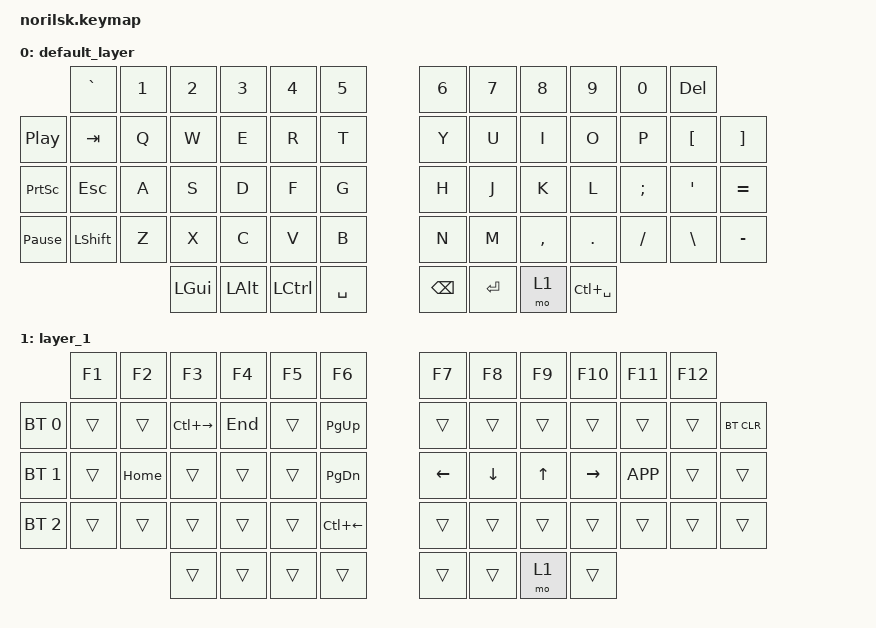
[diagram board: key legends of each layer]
#include <behaviors.dtsi>
#include <dt-bindings/zmk/bt.h>
#include <dt-bindings/zmk/keys.h>

#define ZMK_POINTING_DEFAULT_MOVE_VAL 3600
#include <dt-bindings/zmk/pointing.h>

/ {
    keymap {
        compatible = "zmk,keymap";

        default_layer {
            bindings = <
                &kp GRAVE        &kp N1    &kp N2    &kp N3    &kp N4        &kp N5
                &kp N6           &kp N7    &kp N8    &kp N9    &kp N0        &kp DEL

                &kp C_PLAY_PAUSE &kp TAB   &kp Q     &kp W     &kp E         &kp R      &kp T
                &kp Y            &kp U     &kp I     &kp O     &kp P         &kp LBKT   &kp RBKT

                &kp PSCRN        &kp ESC   &kp A     &kp S     &kp D         &kp F      &kp G
                &kp H            &kp J     &kp K     &kp L     &kp SEMI      &kp SQT     &kp EQUAL

                &kp PAUSE_BREAK  &kp LSHFT &kp Z     &kp X     &kp C         &kp V      &kp B
                &kp N            &kp M     &kp COMMA &kp DOT   &kp SLASH     &kp BSLH   &kp MINUS

                &kp LGUI         &kp LALT  &kp LCTRL &kp SPACE
                &kp BSPC         &kp ENTER &mo 1     &kp LC(SPACE)
            >;
        };

        layer_1 {
            bindings = <
                &kp F1       &kp F2    &kp F3       &kp F4       &kp F5     &kp F6
                &kp F7       &kp F8    &kp F9       &kp F10      &kp F11    &kp F12

                &bt BT_SEL 0 &trans    &trans       &kp LC(RIGHT) &kp END   &trans      &kp PG_UP
                &trans       &trans    &trans       &trans       &trans     &trans      &bt BT_CLR

                &bt BT_SEL 1 &trans    &kp HOME     &trans       &trans     &trans      &kp PG_DN
                &kp LEFT     &kp DOWN  &kp UP       &kp RIGHT    &kp K_APP  &trans      &trans

                &bt BT_SEL 2 &trans    &trans       &trans       &trans     &trans      &kp LC(LEFT)
                &trans       &trans    &trans       &trans       &trans     &trans      &trans

                &trans       &trans    &trans       &trans
                &trans       &trans    &mo 1        &trans
            >;
        };
    };
};
